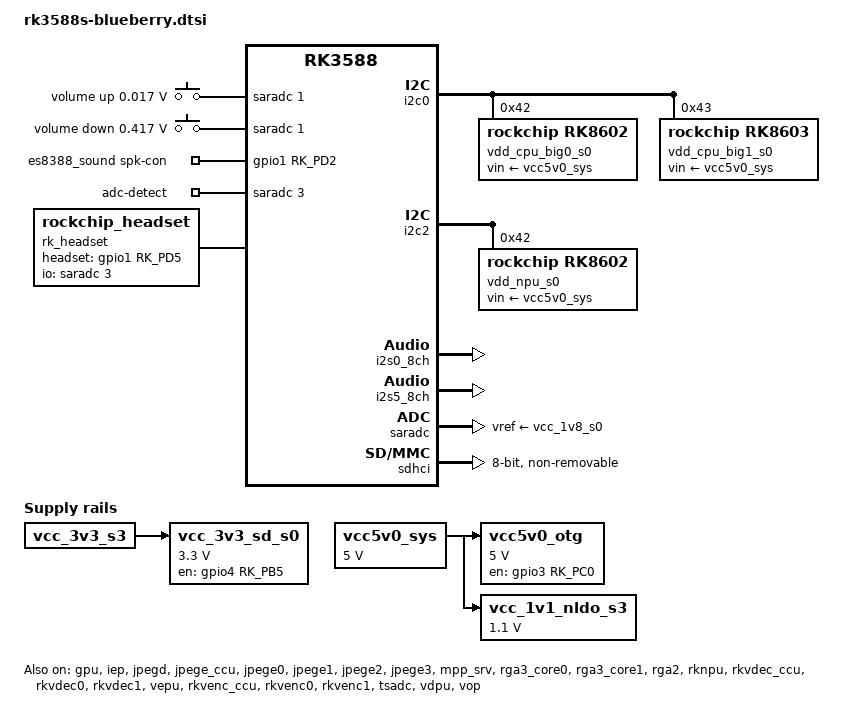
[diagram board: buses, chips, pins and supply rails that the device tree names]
// SPDX-License-Identifier: (GPL-2.0+ OR MIT)
/*
 * Copyright (c) 2021 Rockchip Electronics Co., Ltd.
 *
 */

#include <dt-bindings/gpio/gpio.h>
#include <dt-bindings/pwm/pwm.h>
#include <dt-bindings/pinctrl/rockchip.h>
#include <dt-bindings/input/rk-input.h>
#include <dt-bindings/display/drm_mipi_dsi.h>
#include <dt-bindings/display/rockchip_vop.h>
#include <dt-bindings/sensor-dev.h>
#include "rk3588-linux.dtsi"
/ {
	adc_keys: adc-keys {
		compatible = "adc-keys";
		io-channels = <&saradc 1>;
		io-channel-names = "buttons";
		keyup-threshold-microvolt = <1800000>;
		poll-interval = <100>;

		vol-up-key {
			label = "volume up";
			linux,code = <KEY_VOLUMEUP>;
			press-threshold-microvolt = <17000>;
		};

		vol-down-key {
			label = "volume down";
			linux,code = <KEY_VOLUMEDOWN>;
			press-threshold-microvolt = <417000>;
		};
	};
	
	dp0_sound: dp0-sound {
		status = "disabled";
		compatible = "rockchip,hdmi";
		rockchip,card-name= "rockchip,dp0";
		rockchip,mclk-fs = <512>;
		rockchip,cpu = <&spdif_tx2>;
		rockchip,codec = <&dp0 1>;
		rockchip,jack-det;
	};
	
	hdmi0_sound: hdmi0-sound {
		status = "disabled";
		compatible = "simple-audio-card";
		simple-audio-card,format = "i2s";
		simple-audio-card,mclk-fs = <128>;
		simple-audio-card,name = "rockchip,hdmi0";

		simple-audio-card,cpu {
			sound-dai = <&i2s5_8ch>;
		};
		simple-audio-card,codec {
			sound-dai = <&hdmi0>;
		};
	};
	es8388_sound: es8388-sound {
		status = "okay";
		compatible = "rockchip,multicodecs-card";
		rockchip,card-name = "rockchip,es8388-codec";
		// hp-det-gpio = <&gpio1 RK_PD5 GPIO_ACTIVE_HIGH>;
		// hp-con-gpio = <&gpio1 RK_PD4 GPIO_ACTIVE_HIGH>;
		spk-con-gpio = <&gpio1 RK_PD2 GPIO_ACTIVE_HIGH>;
		io-channels = <&saradc 3>;
		io-channel-names = "adc-detect";
		keyup-threshold-microvolt = <1800000>;
		poll-interval = <100>;
		rockchip,format = "i2s";
		rockchip,mclk-fs = <256>;
		rockchip,cpu = <&i2s0_8ch>;
		rockchip,codec = <&es8388>;
		rockchip,audio-routing =
			"Headphone", "LOUT1",
			"Headphone", "ROUT1",
			"Speaker", "LOUT2",
			"Speaker", "ROUT2",
			"Headphone", "Headphone Power",
			"Headphone", "Headphone Power",
			"Speaker", "Speaker Power",
			"Speaker", "Speaker Power",
			"LINPUT1", "Main Mic",
			"LINPUT2", "Main Mic",
			"RINPUT1", "Headset Mic",
			"RINPUT2", "Headset Mic";
		// pinctrl-names = "default";
		// pinctrl-0 = <&hp_det>;
		play-pause-key {
			label = "playpause";
			linux,code = <KEY_PLAYPAUSE>;
			press-threshold-microvolt = <2000>;
		};
	};
	rk_headset: rk-headset {
		status = "okay";  
		compatible = "rockchip_headset";
		headset_gpio = <&gpio1 RK_PD5 GPIO_ACTIVE_HIGH>;
		pinctrl-names = "default";
		pinctrl-0 = <&hp_det>;
		io-channels = <&saradc 3>;
	};
	vcc5v0_sys: vcc5v0-sys {
		compatible = "regulator-fixed";
		regulator-name = "vcc5v0_sys";
		regulator-always-on;
		regulator-boot-on;
		regulator-min-microvolt = <5000000>;
		regulator-max-microvolt = <5000000>;
	};

	vcc_3v3_sd_s0: vcc-3v3-sd-s0-regulator {
		compatible = "regulator-fixed";
		gpio = <&gpio4 RK_PB5 GPIO_ACTIVE_LOW>;
		pinctrl-names = "default";
		pinctrl-0 = <&sd_s0_pwr>;
		regulator-name = "vcc_3v3_sd_s0";
		enable-active-high;
		regulator-min-microvolt = <3300000>;
	    regulator-max-microvolt = <3300000>;
		vin-supply = <&vcc_3v3_s3>;
	};
	vcc5v0_otg: vcc5v0-otg-regulator {
		compatible = "regulator-fixed";
		regulator-name = "vcc5v0_otg";
		regulator-min-microvolt = <5000000>;
		regulator-max-microvolt = <5000000>;
		enable-active-high;
		gpio = <&gpio3 RK_PC0 GPIO_ACTIVE_HIGH>;
		vin-supply = <&vcc5v0_sys>;
		pinctrl-names = "default";
		pinctrl-0 = <&vcc5v0_otg_en>;
	};
	vcc_1v1_nldo_s3: vcc-1v1-nldo-s3 {
		compatible = "regulator-fixed";
		regulator-name = "vcc_1v1_nldo_s3";
		regulator-always-on;
		regulator-boot-on;
		regulator-min-microvolt = <1100000>;
		regulator-max-microvolt = <1100000>;
		vin-supply = <&vcc5v0_sys>;
	};

	test-power {
		status = "okay";
	};

};

&av1d_mmu {
	status = "okay";
};

&cpu_l0 {
	cpu-supply = <&vdd_cpu_lit_s0>;
	mem-supply = <&vdd_cpu_lit_mem_s0>;
};

&cpu_b0 {
	cpu-supply = <&vdd_cpu_big0_s0>;
	mem-supply = <&vdd_cpu_big0_mem_s0>;
};

&cpu_b2 {
	cpu-supply = <&vdd_cpu_big1_s0>;
	mem-supply = <&vdd_cpu_big1_mem_s0>;
};

&gpu {
	mali-supply = <&vdd_gpu_s0>;
	mem-supply = <&vdd_gpu_mem_s0>;
	upthreshold = <60>;
	downdifferential = <30>;
	status = "okay";
};

&i2c0 {
	status = "okay";
	pinctrl-names = "default";
	pinctrl-0 = <&i2c0m2_xfer>;

	vdd_cpu_big0_s0: vdd_cpu_big0_mem_s0: rk8602@42 {
		compatible = "rockchip,rk8602";
		reg = <0x42>;
		vin-supply = <&vcc5v0_sys>;
		regulator-compatible = "rk860x-reg";
		regulator-name = "vdd_cpu_big0_s0";
		regulator-min-microvolt = <550000>;
		regulator-max-microvolt = <1050000>;
		regulator-ramp-delay = <2300>;
		rockchip,suspend-voltage-selector = <1>;
		regulator-boot-on;
		regulator-always-on;
		regulator-state-mem {
			regulator-off-in-suspend;
		};
	};

	vdd_cpu_big1_s0: vdd_cpu_big1_mem_s0: rk8603@43 {
		compatible = "rockchip,rk8603";
		reg = <0x43>;
		vin-supply = <&vcc5v0_sys>;
		regulator-compatible = "rk860x-reg";
		regulator-name = "vdd_cpu_big1_s0";
		regulator-min-microvolt = <550000>;
		regulator-max-microvolt = <1050000>;
		regulator-ramp-delay = <2300>;
		rockchip,suspend-voltage-selector = <1>;
		regulator-boot-on;
		regulator-always-on;
		regulator-state-mem {
			regulator-off-in-suspend;
		};
	};
};

&i2c2 {
	status = "okay";

	vdd_npu_s0: vdd_npu_mem_s0: rk8602@42 {
		compatible = "rockchip,rk8602";
		reg = <0x42>;
		vin-supply = <&vcc5v0_sys>;
		regulator-compatible = "rk860x-reg";
		regulator-name = "vdd_npu_s0";
		regulator-min-microvolt = <550000>;
		regulator-max-microvolt = <950000>;
		regulator-ramp-delay = <2300>;
		rockchip,suspend-voltage-selector = <1>;
		regulator-boot-on;
		regulator-always-on;
		regulator-state-mem {
			regulator-off-in-suspend;
		};
	};
};

&i2s0_8ch {
	status = "okay";
	pinctrl-0 = <&i2s0_lrck
		     &i2s0_sclk
		     &i2s0_sdi0
		     &i2s0_sdo0>;
};

&i2s5_8ch {
	status = "okay";
};
&iep {
	status = "okay";
};

&iep_mmu {
	status = "okay";
};

&jpegd {
	status = "okay";
};

&jpegd_mmu {
	status = "okay";
};

&jpege_ccu {
	status = "okay";
};

&jpege0 {
	status = "okay";
};

&jpege0_mmu {
	status = "okay";
};

&jpege1 {
	status = "okay";
};

&jpege1_mmu {
	status = "okay";
};

&jpege2 {
	status = "okay";
};

&jpege2_mmu {
	status = "okay";
};

&jpege3 {
	status = "okay";
};

&jpege3_mmu {
	status = "okay";
};

&mpp_srv {
	status = "okay";
};

&rga3_core0 {
	status = "okay";
};

&rga3_0_mmu {
	status = "okay";
};

&rga3_core1 {
	status = "okay";
};

&rga3_1_mmu {
	status = "okay";
};

&rga2 {
	status = "okay";
};

&rknpu {
	rknpu-supply = <&vdd_npu_s0>;
	mem-supply = <&vdd_npu_mem_s0>;
	status = "okay";
};

&rknpu_mmu {
	status = "okay";
};

&rkvdec_ccu {
	status = "okay";
};

&rkvdec0 {
	status = "okay";
};

&rkvdec0_mmu {
	status = "okay";
};

&rkvdec1 {
	status = "okay";
};

&rkvdec1_mmu {
	status = "okay";
};

&vepu {
	status = "okay";
};

&rkvenc_ccu {
	status = "okay";
};

&rkvenc0 {
	status = "okay";
};

&rkvenc0_mmu {
	status = "okay";
};

&rkvenc1 {
	status = "okay";
};

&rkvenc1_mmu {
	status = "okay";
};

&rockchip_suspend {
	status = "okay";
	rockchip,sleep-debug-en = <1>;
};

&saradc {
	status = "okay";
	vref-supply = <&vcc_1v8_s0>;
};

&sdhci {
	bus-width = <8>;
	no-sdio;
	no-sd;
	non-removable;
	max-frequency = <200000000>;
	mmc-hs400-1_8v;
	mmc-hs400-enhanced-strobe;
	status = "okay";
};


&tsadc {
	status = "okay";
};

&vdpu {
	status = "okay";
};

&vdpu_mmu {
	status = "okay";
};

&vop {
	status = "okay";
};

&vop_mmu {
	status = "okay";
};

&vepu {
	status = "okay";
};

/* vp0 & vp1 splice for 8K output */
&vp0 {
	cursor-win-id=<ROCKCHIP_VOP2_ESMART0>;
	rockchip,plane-mask = <(1 << ROCKCHIP_VOP2_CLUSTER0 | 1 << ROCKCHIP_VOP2_ESMART0)>;
	rockchip,primary-plane = <ROCKCHIP_VOP2_ESMART0>;
	rockchip,primary-plane = <ROCKCHIP_VOP2_CLUSTER0>;
};

&vp1 {
	cursor-win-id=<ROCKCHIP_VOP2_ESMART1>;
	rockchip,plane-mask = <(1 << ROCKCHIP_VOP2_CLUSTER1 | 1 << ROCKCHIP_VOP2_ESMART1)>;
	rockchip,primary-plane = <ROCKCHIP_VOP2_ESMART1>;
	rockchip,primary-plane = <ROCKCHIP_VOP2_CLUSTER1>;
};

&vp2 {
	cursor-win-id=<ROCKCHIP_VOP2_ESMART2>;
	rockchip,plane-mask = <(1 << ROCKCHIP_VOP2_CLUSTER2 | 1 << ROCKCHIP_VOP2_ESMART2)>;
	rockchip,primary-plane = <ROCKCHIP_VOP2_ESMART2>;
	rockchip,primary-plane = <ROCKCHIP_VOP2_CLUSTER2>;
};

&vp3 {
	cursor-win-id=<ROCKCHIP_VOP2_ESMART3>;
	rockchip,plane-mask = <(1 << ROCKCHIP_VOP2_CLUSTER3 | 1 << ROCKCHIP_VOP2_ESMART3)>;
	rockchip,primary-plane = <ROCKCHIP_VOP2_ESMART3>;
	rockchip,primary-plane = <ROCKCHIP_VOP2_CLUSTER3>;
};

/* Fix tty terminal out of screen, and most dclk of resolutions was not supported in hdmiphy clock from parent clock by default */
&display_subsystem {
	clocks = <&hdptxphy_hdmi0>;
	clock-names = "hdmi0_phy_pll";
};
